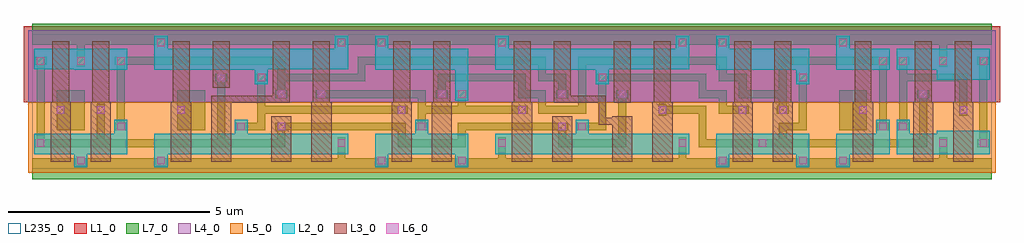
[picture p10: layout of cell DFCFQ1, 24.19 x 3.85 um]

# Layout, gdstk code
import gdstk
lib = gdstk.Library(unit=1e-6, precision=1e-09)
def R(c, l, rs):  # rectangles x0, y0, x1, y1
    for r in rs: c.add(gdstk.rectangle(r[:2], r[2:], *l))
def A(c, l, x, y, w, h, nx, ny, dx, dy):  # array of equal rectangles
    R(c, l, [(x+i*dx, y+j*dy, x+i*dx+w, y+j*dy+h) for i in range(nx) for j in range(ny)])
def P(c, l, *ps):  # polygons
    for p in ps: c.add(gdstk.Polygon(p, *l))
L1_0 = (1, 0)
L2_0 = (2, 0)
L3_0 = (3, 0)
L4_0 = (4, 0)
L5_0 = (5, 0)
L6_0 = (6, 0)
L7_0 = (7, 0)
L235_0 = (235, 0)

dfcfq1 = lib.new_cell('DFCFQ1')
R(dfcfq1, L1_0, [(-0.2,1.653,23.985,3.532)])
P(dfcfq1, L2_0, [(16.948,0.036),(16.948,0.863),(19.262,0.863),(19.262,0.036),(18.936,0.036),(18.936,0.363),(17.274,0.363),(17.274,0.036)],
  [(1.044,0.036),(1.044,0.363),(0.05,0.363),(0.05,0.863),(2.038,0.863),(2.038,1.209),(2.364,1.209),(2.364,0.363),(1.37,0.363),(1.37,0.036)],
  [(3.032,0.036),(3.032,0.863),(5.02,0.863),(5.02,1.209),(5.346,1.209),(5.346,0.863),(7.831,0.863),(7.831,0.363),(3.358,0.363),(3.358,0.036)],
  [(8.499,0.036),(8.499,0.863),(9.493,0.863),(9.493,1.209),(9.819,1.209),(9.819,0.863),(10.813,0.863),(10.813,0.036),(10.487,0.036),(10.487,0.363),(8.825,0.363),(8.825,0.036)],
  [(11.481,0.363),(11.481,0.863),(13.469,0.863),(13.469,1.209),(13.795,1.209),(13.795,0.863),(16.28,0.863),(16.28,0.363)],
  [(19.93,0.036),(19.93,0.863),(20.924,0.863),(20.924,1.209),(21.25,1.209),(21.25,0.363),(20.256,0.363),(20.256,0.036)],
  [(21.421,0.363),(21.421,1.209),(21.747,1.209),(21.747,0.863),(22.415,0.863),(22.415,0.943),(23.735,0.943),(23.735,0.363)],
  [(1.044,2.449),(1.044,2.469),(0.05,2.469),(0.05,2.969),(2.364,2.969),(2.364,2.449)],
  [(22.415,2.209),(22.415,2.449),(21.421,2.449),(21.421,2.969),(23.735,2.969),(23.735,2.209)],
  [(5.517,2.097),(5.517,2.449),(3.032,2.449),(3.032,3.296),(3.358,3.296),(3.358,2.969),(7.505,2.969),(7.505,3.296),(7.831,3.296),(7.831,2.469),(5.843,2.469),(5.843,2.097)],
  [(10.487,1.684),(10.487,2.449),(8.499,2.449),(8.499,3.296),(8.825,3.296),(8.825,2.969),(10.813,2.969),(10.813,1.684)],
  [(13.966,2.097),(13.966,2.449),(11.481,2.449),(11.481,3.296),(11.807,3.296),(11.807,2.969),(15.954,2.969),(15.954,3.296),(16.28,3.296),(16.28,2.469),(14.292,2.469),(14.292,2.097)],
  [(18.936,2.097),(18.936,2.449),(16.948,2.449),(16.948,3.296),(17.274,3.296),(17.274,2.969),(19.262,2.969),(19.262,2.097)],
  [(19.93,2.449),(19.93,3.296),(20.256,3.296),(20.256,2.969),(21.25,2.969),(21.25,2.449)])
R(dfcfq1, L3_0, [(5.927,0.177,6.427,1.296), (12.885,0.177,13.385,1.296), (14.416,1.637,14.836,3.155), (4.476,2.01,4.896,3.155)])
P(dfcfq1, L3_0, [(0.46,0.177),(0.46,1.653),(0.5,1.653),(0.5,3.155),(0.92,3.155),(0.92,1.653),(0.96,1.653),(0.96,0.177)],
  [(1.454,0.177),(1.454,1.653),(1.494,1.653),(1.494,3.155),(1.914,3.155),(1.914,1.653),(1.954,1.653),(1.954,0.177)],
  [(3.442,0.177),(3.442,1.653),(3.482,1.653),(3.482,3.155),(3.902,3.155),(3.902,1.653),(3.942,1.653),(3.942,0.177)],
  [(4.436,0.177),(4.436,1.809),(5.967,1.809),(5.967,3.155),(6.387,3.155),(6.387,1.629),(4.936,1.629),(4.936,0.177)],
  [(6.921,0.177),(6.921,1.653),(6.961,1.653),(6.961,3.155),(7.381,3.155),(7.381,1.653),(7.421,1.653),(7.421,0.177)],
  [(8.909,0.177),(8.909,1.653),(8.949,1.653),(8.949,3.155),(9.369,3.155),(9.369,1.653),(9.409,1.653),(9.409,0.177)],
  [(9.903,0.177),(9.903,1.653),(9.943,1.653),(9.943,3.155),(10.363,3.155),(10.363,1.653),(10.403,1.653),(10.403,0.177)],
  [(11.891,0.177),(11.891,1.653),(11.931,1.653),(11.931,3.155),(12.351,3.155),(12.351,1.653),(12.391,1.653),(12.391,0.177)],
  [(14.376,0.177),(14.376,1.084),(14.039,1.084),(14.039,1.629),(12.925,1.629),(12.925,3.155),(13.345,3.155),(13.345,1.809),(14.219,1.809),(14.219,1.264),(14.376,1.264),(14.376,1.296),(14.876,1.296),(14.876,0.177)],
  [(15.37,0.177),(15.37,1.653),(15.41,1.653),(15.41,3.155),(15.83,3.155),(15.83,1.653),(15.87,1.653),(15.87,0.177)],
  [(17.358,0.177),(17.358,1.653),(17.398,1.653),(17.398,3.155),(17.818,3.155),(17.818,1.653),(17.858,1.653),(17.858,0.177)],
  [(18.352,0.177),(18.352,1.653),(18.392,1.653),(18.392,3.155),(18.812,3.155),(18.812,1.653),(18.852,1.653),(18.852,0.177)],
  [(20.34,0.177),(20.34,1.653),(20.38,1.653),(20.38,3.155),(20.8,3.155),(20.8,1.653),(20.84,1.653),(20.84,0.177)],
  [(21.831,0.177),(21.831,1.653),(21.871,1.653),(21.871,3.155),(22.291,3.155),(22.291,1.653),(22.331,1.653),(22.331,0.177)],
  [(22.825,0.177),(22.825,1.653),(22.865,1.653),(22.865,3.155),(23.285,3.155),(23.285,1.653),(23.325,1.653),(23.325,0.177)])
R(dfcfq1, L4_0, [(-0.1,1.653,23.885,3.432)])
R(dfcfq1, L5_0, [(-0.1,-0.1,23.885,1.653)])
A(dfcfq1, L6_0, 6.084, 0.953, 0.186, 0.186, 3, 1, 3.479, 0)
A(dfcfq1, L6_0, 0.12, 2.58, 0.186, 0.186, 3, 1, 0.994, 0)
A(dfcfq1, L6_0, 21.491, 2.58, 0.186, 0.186, 3, 1, 0.994, 0)
R(dfcfq1, L6_0, [(1.114,0.106,1.3,0.292), (3.102,0.106,3.288,0.292), (8.569,0.106,8.755,0.292), (10.557,0.106,10.743,0.292), (17.018,0.106,17.204,0.292), (19.006,0.106,19.192,0.292), (20,0.106,20.186,0.292), (0.12,0.54,0.306,0.726), (7.575,0.54,7.761,0.726), (11.551,0.54,11.737,0.726), (16.024,0.54,16.21,0.726), (18.012,0.54,18.198,0.726), (22.485,0.54,22.671,0.726), (23.479,0.54,23.665,0.726), (2.108,0.953,2.294,1.139), (5.09,0.953,5.276,1.139), (13.539,0.953,13.725,1.139), (20.994,0.953,21.18,1.139), (21.491,0.953,21.677,1.139), (0.617,1.366,0.803,1.552), (1.611,1.366,1.797,1.552), (3.599,1.366,3.785,1.552), (9.066,1.366,9.252,1.552), (12.048,1.366,12.234,1.552), (15.527,1.366,15.713,1.552), (17.515,1.366,17.701,1.552), (18.509,1.366,18.695,1.552), (20.497,1.366,20.683,1.552), (22.982,1.366,23.168,1.552), (6.084,1.754,6.27,1.94), (7.078,1.754,7.264,1.94), (10.06,1.754,10.246,1.94), (10.557,1.754,10.743,1.94), (13.042,1.754,13.228,1.94), (14.533,1.754,14.719,1.94), (21.988,1.754,22.174,1.94), (4.593,2.167,4.779,2.353), (5.587,2.167,5.773,2.353), (14.036,2.167,14.222,2.353), (19.006,2.167,19.192,2.353), (20.994,2.58,21.18,2.766), (3.102,3.04,3.288,3.226), (7.575,3.04,7.761,3.226), (8.569,3.04,8.755,3.226), (11.551,3.04,11.737,3.226), (16.024,3.04,16.21,3.226), (17.018,3.04,17.204,3.226), (20,3.04,20.186,3.226)])
R(dfcfq1, L7_0, [(0.613,0.949,1.304,1.944), (3.595,0.949,4.286,1.944), (19.996,0.949,20.687,1.944)])
P(dfcfq1, L7_0, [(0,-0.26),(0,0.26),(1.11,0.26),(1.11,0.296),(1.304,0.296),(1.304,0.26),(3.098,0.26),(3.098,0.296),(3.292,0.296),(3.292,0.26),(7.571,0.26),(7.571,0.776),(7.765,0.776),(7.765,0.26),(8.565,0.26),(8.565,0.296),(8.759,0.296),(8.759,0.26),(10.553,0.26),(10.553,0.296),(10.747,0.296),(10.747,0.26),(11.547,0.26),(11.547,0.776),(11.741,0.776),(11.741,0.26),(16.02,0.26),(16.02,0.776),(16.214,0.776),(16.214,0.26),(17.014,0.26),(17.014,0.296),(17.208,0.296),(17.208,0.26),(19.002,0.26),(19.002,0.296),(19.196,0.296),(19.196,0.26),(19.996,0.26),(19.996,0.296),(20.19,0.296),(20.19,0.26),(22.481,0.26),(22.481,0.776),(22.675,0.776),(22.675,0.26),(23.785,0.26),(23.785,-0.26)],
  [(9.509,0.949),(9.509,1.143),(9.559,1.143),(9.559,1.75),(7.024,1.75),(7.024,1.944),(9.753,1.944),(9.753,1.556),(10.553,1.556),(10.553,1.75),(10.503,1.75),(10.503,1.944),(10.797,1.944),(10.797,1.75),(10.747,1.75),(10.747,1.556),(12.288,1.556),(12.288,1.362),(9.753,1.362),(9.753,1.143),(9.803,1.143),(9.803,0.949)],
  [(5.036,0.949),(5.036,1.143),(5.583,1.143),(5.583,2.163),(5.533,2.163),(5.533,2.357),(5.827,2.357),(5.827,2.163),(5.777,2.163),(5.777,1.556),(9.306,1.556),(9.306,1.362),(5.777,1.362),(5.777,0.949)],
  [(13.485,0.949),(13.485,1.143),(14.032,1.143),(14.032,2.163),(13.982,2.163),(13.982,2.357),(16.711,2.357),(16.711,1.944),(17.208,1.944),(17.208,1.556),(17.755,1.556),(17.755,1.362),(17.014,1.362),(17.014,1.75),(16.517,1.75),(16.517,2.163),(14.226,2.163),(14.226,0.949)],
  [(16.517,0.536),(16.517,1.362),(15.717,1.362),(15.717,1.312),(15.523,1.312),(15.523,1.606),(15.717,1.606),(15.717,1.556),(16.711,1.556),(16.711,0.73),(18.505,0.73),(18.505,1.143),(19.002,1.143),(19.002,2.163),(18.952,2.163),(18.952,2.357),(19.246,2.357),(19.246,2.163),(19.196,2.163),(19.196,0.949),(18.699,0.949),(18.699,0.73),(21.984,0.73),(21.984,1.75),(21.934,1.75),(21.934,1.944),(22.228,1.944),(22.228,1.75),(22.178,1.75),(22.178,0.536)],
  [(0.066,0.536),(0.066,0.73),(0.116,0.73),(0.116,2.576),(0.066,2.576),(0.066,2.77),(0.36,2.77),(0.36,2.576),(0.31,2.576),(0.31,0.73),(1.607,0.73),(1.607,1.606),(1.801,1.606),(1.801,0.73),(4.589,0.73),(4.589,2.163),(4.539,2.163),(4.539,2.357),(4.833,2.357),(4.833,2.163),(4.783,2.163),(4.783,0.73),(6.08,0.73),(6.08,0.949),(6.03,0.949),(6.03,1.143),(9.256,1.143),(9.256,0.73),(10.553,0.73),(10.553,1.143),(13.282,1.143),(13.282,0.949),(13.232,0.949),(13.232,0.73),(14.529,0.73),(14.529,1.75),(14.479,1.75),(14.479,1.944),(14.773,1.944),(14.773,1.75),(14.723,1.75),(14.723,0.536),(13.038,0.536),(13.038,0.949),(10.747,0.949),(10.747,0.536),(9.062,0.536),(9.062,0.949),(6.274,0.949),(6.274,0.536)],
  [(2.054,0.949),(2.054,1.143),(2.104,1.143),(2.104,2.576),(2.054,2.576),(2.054,2.77),(6.274,2.77),(6.274,2.357),(8.068,2.357),(8.068,2.77),(12.735,2.77),(12.735,2.357),(13.232,2.357),(13.232,1.944),(13.282,1.944),(13.282,1.75),(12.988,1.75),(12.988,1.944),(13.038,1.944),(13.038,2.163),(12.541,2.163),(12.541,2.576),(8.262,2.576),(8.262,2.163),(6.274,2.163),(6.274,1.944),(6.324,1.944),(6.324,1.75),(6.03,1.75),(6.03,1.944),(6.08,1.944),(6.08,2.576),(2.298,2.576),(2.298,1.143),(2.348,1.143),(2.348,0.949)],
  [(20.94,0.949),(20.94,1.143),(20.99,1.143),(20.99,2.576),(18.699,2.576),(18.699,1.556),(18.749,1.556),(18.749,1.362),(18.455,1.362),(18.455,1.556),(18.505,1.556),(18.505,1.75),(17.511,1.75),(17.511,2.163),(17.014,2.163),(17.014,2.576),(13.729,2.576),(13.729,1.362),(12.541,1.362),(12.541,1.75),(12.044,1.75),(12.044,2.163),(10.25,2.163),(10.25,1.944),(10.3,1.944),(10.3,1.75),(10.006,1.75),(10.006,1.944),(10.056,1.944),(10.056,2.357),(12.238,2.357),(12.238,1.944),(12.735,1.944),(12.735,1.556),(13.535,1.556),(13.535,2.77),(17.208,2.77),(17.208,2.357),(17.705,2.357),(17.705,1.944),(18.505,1.944),(18.505,2.77),(21.234,2.77),(21.234,2.576),(21.184,2.576),(21.184,1.143),(21.234,1.143),(21.234,0.949)],
  [(21.437,0.949),(21.437,1.143),(21.487,1.143),(21.487,2.576),(21.437,2.576),(21.437,2.77),(21.731,2.77),(21.731,2.576),(21.681,2.576),(21.681,2.357),(23.172,2.357),(23.172,1.312),(22.978,1.312),(22.978,2.163),(21.681,2.163),(21.681,1.143),(21.731,1.143),(21.731,0.949)],
  [(23.425,0.536),(23.425,0.73),(23.475,0.73),(23.475,2.576),(23.425,2.576),(23.425,2.77),(23.719,2.77),(23.719,2.576),(23.669,2.576),(23.669,0.73),(23.719,0.73),(23.719,0.536)],
  [(1.11,2.53),(1.11,3.072),(0,3.072),(0,3.592),(23.785,3.592),(23.785,3.072),(22.675,3.072),(22.675,2.53),(22.481,2.53),(22.481,3.072),(20.19,3.072),(20.19,3.036),(19.996,3.036),(19.996,3.072),(17.208,3.072),(17.208,3.036),(17.014,3.036),(17.014,3.072),(16.214,3.072),(16.214,3.036),(16.02,3.036),(16.02,3.072),(11.741,3.072),(11.741,3.036),(11.547,3.036),(11.547,3.072),(8.759,3.072),(8.759,3.036),(8.565,3.036),(8.565,3.072),(7.765,3.072),(7.765,3.036),(7.571,3.036),(7.571,3.072),(3.292,3.072),(3.292,3.036),(3.098,3.036),(3.098,3.072),(1.304,3.072),(1.304,2.53)])
R(dfcfq1, L235_0, [(0,0,23.785,3.332)])

lib.write_gds('DFCFQ1.gds')
